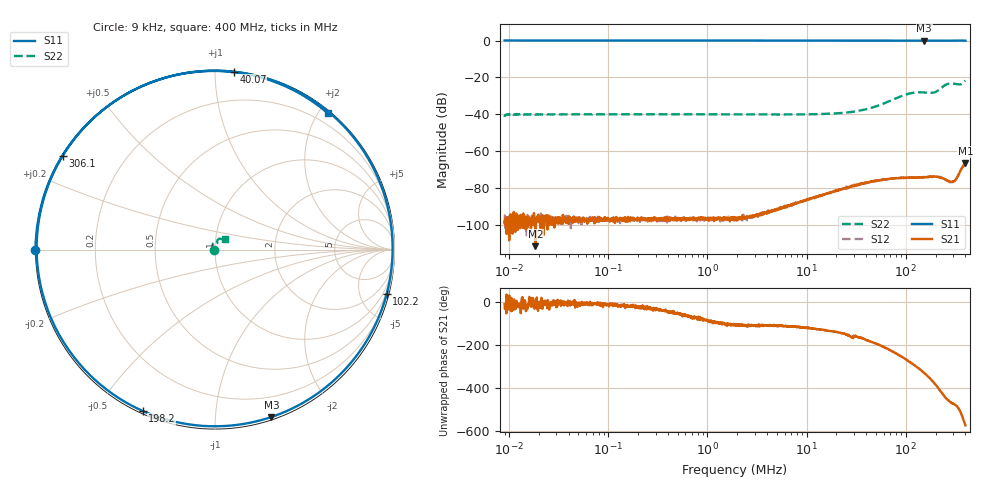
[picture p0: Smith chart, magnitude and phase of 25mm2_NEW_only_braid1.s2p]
#  HZ  S  DB  R  50.00
! Rohde & Schwarz Vector Network Analyzer
! Rohde-Schwarz,ZNB4-4Port,1311601024101604,2.80
! Created: UTC 5/10/2019, 10:12:34 AM
! freq[Hz]  db:S11  ang:S11  db:S21  ang:S21  db:S12  ang:S12  db:S22  ang:S22
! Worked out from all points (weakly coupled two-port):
!   1601 points, 9 kHz to 400 MHz, reference 50 ohm
!   highest |S21| = -66.47 dB at 400 MHz (marker M1); lowest = -111.3 dB at 18.41 kHz (marker M2)
!   lowest |S11| = -0.1 dB at 153.7 MHz (marker M3), VSWR 125.76, Z = 1.17 - j69.6 ohm
!   |S11| at or under -10 dB: nowhere
!   |S22| runs from -41.4 to -21.8 dB; largest |S21 - S12| = 1.9e-05
!   S11 on the Smith chart (normalised r, x): 9 kHz: -0.00, -0.00; 40.07 MHz: 0.00, +1.11; 102.2 MHz: 0.39, -7.86; 198.2 MHz: 0.01, -0.65; 306.1 MHz: 0.00, +0.28; 400 MHz: 0.04, +2.12
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9000  0.03 -179.9  -98.00 -8.6  -99.07 -16.3  -41.38 -167.6
18410.49  0.01 180.0  -111.35 -0.6  -98.73 -21.5  -39.99 -174.1
53684.27  0.00 179.9  -97.32 1.3  -99.61 -6.2  -39.97 -177.5
320222.3  -0.00 179.2  -96.94 -36.9  -96.20 -38.2  -39.93 179.9
1897367  -0.00 175.0  -95.84 -106.9  -97.55 -106.3  -40.02 177.7
5105924  -0.01 166.7  -91.53 -109.4  -91.71 -114.3  -40.05 174.5
1.131764e7  -0.01 150.7  -85.22 -123.3  -85.27 -123.3  -39.91 169.3
2.224074e7  -0.02 123.7  -80.67 -143.0  -80.46 -143.1  -39.26 160.4
4.00663e7  -0.03 84.0  -77.15 -176.3  -77.06 -173.7  -37.18 147.2
5.235699e7  -0.04 60.1  -75.78 162.7  -75.91 165.6  -35.32 138.1
6.750879e7  -0.06 34.2  -74.96 140.6  -74.94 140.1  -32.98 128.3
8.418245e7  -0.08 9.3  -74.51 116.5  -74.32 117.3  -30.79 118.4
1.022029e8  -0.11 -14.5  -74.22 91.3  -74.28 93.3  -29.13 108.2
1.249136e8  -0.13 -41.0  -74.24 64.8  -74.07 64.1  -28.16 95.5
1.536956e8  -0.14 -71.4  -74.09 31.1  -73.96 31.8  -28.14 79.7
1.981741e8  -0.13 -114.2  -73.65 -20.9  -73.49 -20.1  -27.96 71.5
2.250297e8  -0.11 -138.8  -74.18 -53.6  -74.09 -53.4  -25.96 75.3
2.555246e8  -0.07 -166.2  -75.37 -85.4  -75.29 -83.6  -23.87 69.7
2.806086e8  -0.05 171.4  -76.42 -102.6  -76.82 -103.8  -23.35 59.6
3.061009e8  -0.03 148.3  -76.34 -111.9  -76.24 -112.5  -23.40 48.4
3.546272e8  -0.03 101.7  -70.71 -146.8  -70.81 -146.5  -23.76 44.2
4e8  -0.12 50.5  -66.47 147.9  -66.51 147.6  -21.80 45.9
